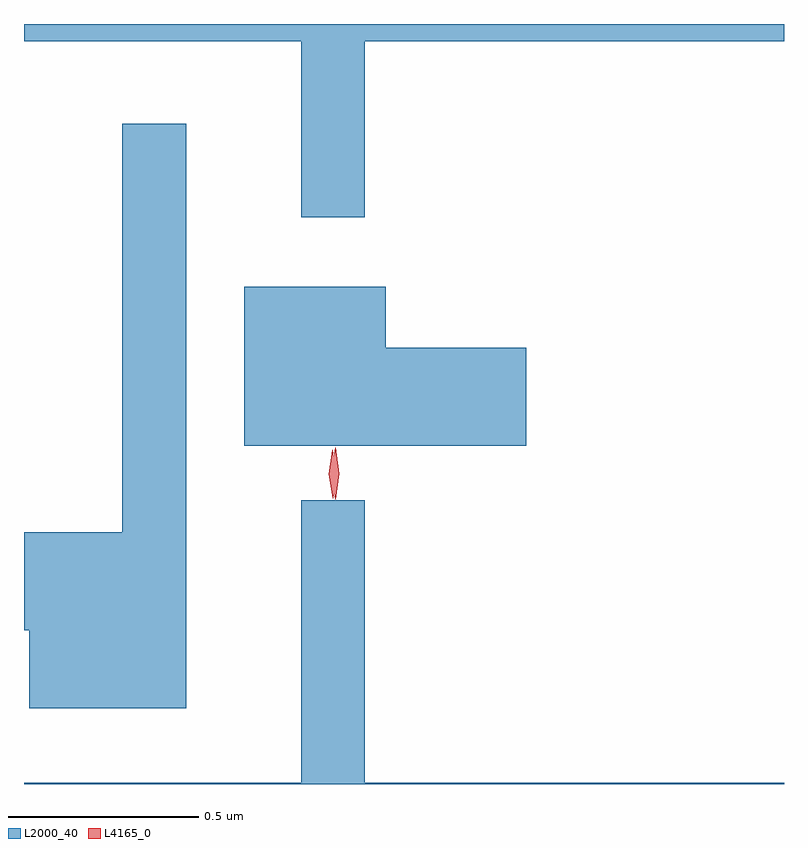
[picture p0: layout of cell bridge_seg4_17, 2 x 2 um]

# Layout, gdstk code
import gdstk
lib = gdstk.Library(unit=1e-6, precision=1e-09)
def P(c, l, *ps):  # polygons
    for p in ps: c.add(gdstk.Polygon(p, *l))
L2000_40 = (2000, 40)
L4165_0 = (4165, 0)

bridge_seg4_17 = lib.new_cell('bridge_seg4_17')
P(bridge_seg4_17, L2000_40, [(1182.989,1352.456),(1184.092,1352.456),(1184.092,1352.501),(1182.092,1352.501),(1182.092,1352.456),(1182.821,1352.456),(1182.821,1351.993),(1182.989,1351.993)],
  [(1182.519,1352.238),(1182.351,1352.238),(1182.351,1351.164),(1182.092,1351.164),(1182.092,1350.906),(1182.106,1350.906),(1182.106,1350.701),(1182.519,1350.701)],
  [(1183.414,1351.649),(1183.044,1351.649),(1183.044,1351.809),(1182.671,1351.809),(1182.671,1351.391),(1183.414,1351.391)],
  [(1184.092,1350.504),(1182.989,1350.504),(1182.989,1351.248),(1182.821,1351.248),(1182.821,1350.504),(1182.092,1350.504),(1182.092,1350.501),(1184.092,1350.501)])
P(bridge_seg4_17, L4165_0, [(1182.911,1351.25),(1182.911,1351.25),(1182.901,1351.318),(1182.911,1351.386),(1182.911,1351.386),(1182.912,1351.386),(1182.921,1351.318),(1182.912,1351.25)],
  [(1182.904,1351.253),(1182.894,1351.316),(1182.903,1351.379),(1182.904,1351.38),(1182.904,1351.379),(1182.914,1351.316),(1182.906,1351.253),(1182.905,1351.253)])

lib.write_gds('bridge_seg4_17.gds')
